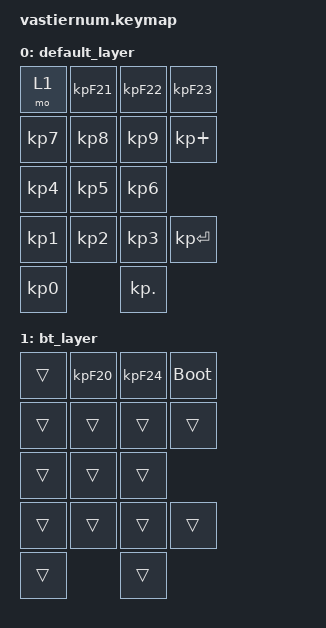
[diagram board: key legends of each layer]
#include <behaviors.dtsi>
#include <dt-bindings/zmk/keys.h>
#include <dt-bindings/zmk/bt.h>

/ {  
    keymap {
        compatible = "zmk,keymap";

        default_layer {
            bindings = <
                &mo 1         &kp KP_F21     &kp KP_F22     &kp KP_F23
                &kp KP_N7     &kp KP_N8        &kp KP_N9           &kp KP_PLUS
                &kp KP_N4     &kp KP_N5        &kp KP_N6
                &kp KP_N1     &kp KP_N2        &kp KP_N3           &kp KP_ENTER
                &kp KP_N0                      &kp KP_DOT
            >;
        }; 
        
        bt_layer {
            bindings = <
                &trans          &kp KP_F20      &kp KP_F24     &bootloader
                &trans          &trans          &trans         &trans
                &trans          &trans          &trans
                &trans          &trans          &trans         &trans
                &trans          &trans
            >;
        };
    };
};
